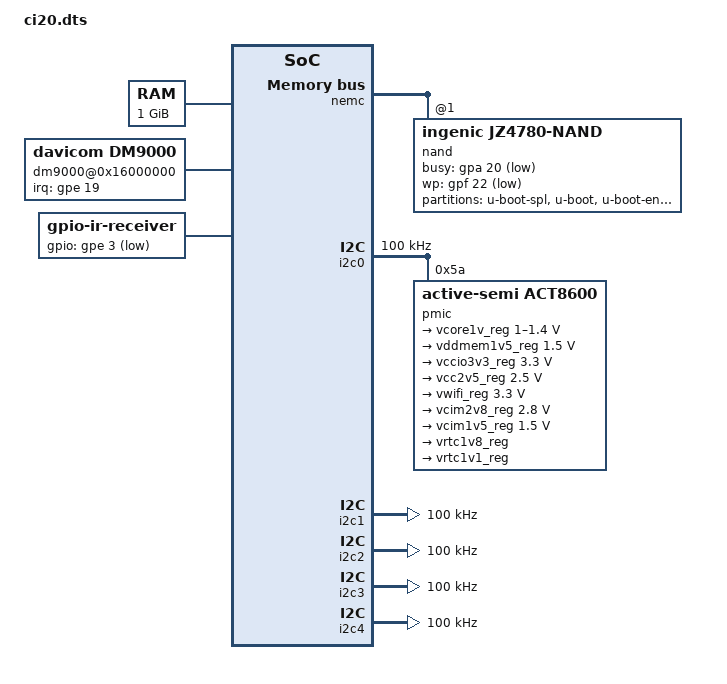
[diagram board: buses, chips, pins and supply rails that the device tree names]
/*
 * CI20 device tree
 *
 * Copyright (c) 2013 Imagination Technologies
 * Author: Paul Burton <paul.burton@imgtec.com>
 *
 * This program is free software; you can redistribute it and/or
 * modify it under the terms of the GNU General Public License as
 * published by the Free Software Foundation; either version 2 of
 * the License, or (at your option) any later version.
 *
 * This program is distributed in the hope that it will be useful,
 * but WITHOUT ANY WARRANTY; without even the implied warranty of
 * MERCHANTABILITY or FITNESS FOR A PARTICULAR PURPOSE.  See the
 * GNU General Public License for more details.
 *
 * You should have received a copy of the GNU General Public License
 * along with this program; if not, write to the Free Software
 * Foundation, Inc., 59 Temple Place, Suite 330, Boston,
 * MA 02111-1307 USA
 */

/dts-v1/;

#include <dt-bindings/gpio/gpio.h>

#include "jz4780.dtsi"

/ {
	compatible = "img,ci20";

	chosen {
		bootargs = "console=ttyS0,115200 clk_ignore_unused root=/dev/mmcblk0p1 rootwait";
	};

	memory {
		device_type = "memory";
		reg = <0x0 0x10000000
		       0x30000000 0x30000000>;
	};

	clocks {
		extal: extal {
			clock-frequency = <48000000>;
		};
	};

	board {
		#address-cells = <1>;
		#size-cells = <1>;
		compatible = "simple-bus";
		ranges = <>;

		dm9000@0x16000000 {
			compatible = "davicom,dm9000";
			davicom,no-eeprom;

			reg = <0x16000000 1   /* addr */
			       0x16000002 1>; /* data */

			interrupt-parent = <&gpe>;
			interrupts = <19 0x4>;
		};

		ir: ir-receiver {
			compatible = "gpio-ir-receiver";
			gpios = <&gpe 3 GPIO_ACTIVE_LOW>;
		};
	};
};

&msc0 {
	bus-width = <4>;
	max-frequency = <48000000>;
	cd-gpios = <&gpf 20 GPIO_ACTIVE_LOW>;

	pinctrl-names = "default";
	pinctrl-0 = <&pins_msc0_pe>;
};

&ehci {
	ingenic,vbus-gpio = <&gpf 15 0>;
};

&ohci {
	ingenic,vbus-gpio = <&gpf 15 0>;
};

&nemc {
	/*
	 * Only CLE/ALE are needed for the devices that are connected, rather
	 * than the full address line set.
	 */
	pinctrl-names = "default";
	pinctrl-0 = <&pins_nemc_data &pins_nemc_cle_ale &pins_nemc_frd_fwe>;

	nand: nand@1 {
		compatible = "ingenic,jz4780-nand";
		reg = <1 0 0x1000000>;

		ingenic,nemc-tAS = <10>;
		ingenic,nemc-tAH = <5>;
		ingenic,nemc-tBP = <10>;
		ingenic,nemc-tAW = <15>;
		ingenic,nemc-tSTRV = <100>;

		ingenic,bch-device = <&bch>;
		ingenic,ecc-size = <1024>;
		ingenic,ecc-strength = <24>;

		ingenic,busy-gpio = <&gpa 20 GPIO_ACTIVE_LOW>;
		ingenic,wp-gpio = <&gpf 22 GPIO_ACTIVE_LOW>;

		pinctrl-names = "default";
		pinctrl-0 = <&pins_nemc_cs1>;

		#address-cells = <2>;
		#size-cells = <2>;

		partition@0 {
			label = "u-boot-spl";
			reg = <0x0 0x0 0x0 0x800000>;
		};

		partition@0x800000 {
			label = "u-boot";
			reg = <0x0 0x800000 0x0 0x200000>;
		};

		partition@0xa00000 {
			label = "u-boot-env";
			reg = <0x0 0xa00000 0x0 0x200000>;
		};

		partition@0xc00000 {
			label = "system";
			reg = <0x0 0xc00000 0x1 0xff400000>;
		};
	};
};

&i2c0 {
	clock-frequency = <100000>;
	pinctrl-names = "default";
	pinctrl-0 = <&pins_i2c0_data>;

	pmic: act8600@5a {
		compatible = "active-semi,act8600";
		reg = <0x5a>;

		regulators {
			vcore1v_reg: DCDC_REG1 {
				regulator-name = "vcore1v2";
				regulator-min-microvolt = <1000000>;
				regulator-max-microvolt = <1400000>;
				regulator-always-on;
			};

			vddmem1v5_reg: DCDC_REG2 {
				regulator-name = "vddmem1v5";
				regulator-min-microvolt = <1500000>;
				regulator-max-microvolt = <1500000>;
				regulator-always-on;
			};

			vccio3v3_reg: DCDC_REG3 {
				regulator-name = "vccio3v3";
				regulator-min-microvolt = <3300000>;
				regulator-max-microvolt = <3300000>;
				regulator-always-on;
			};

			vcc2v5_reg: LDO_REG5 {
				regulator-name = "vcc2.5";
				regulator-min-microvolt = <2500000>;
				regulator-max-microvolt = <2500000>;
				regulator-always-on;
			};

			vwifi_reg: LDO_REG6 {
				regulator-name = "vwifi3v3";
				regulator-min-microvolt = <3300000>;
				regulator-max-microvolt = <3300000>;
			};

			vcim2v8_reg: LDO_REG7 {
				regulator-name = "vcim2v8";
				regulator-min-microvolt = <2800000>;
				regulator-max-microvolt = <2800000>;
			};

			vcim1v5_reg: LDO_REG8 {
				regulator-name = "vcim1v5";
				regulator-min-microvolt = <1500000>;
				regulator-max-microvolt = <1500000>;
			};

			/* Do not disable RTC as they connect to reset line */
			vrtc1v8_reg: LDO_REG9 {
				regulator-name = "vrtc1v8";
				regulator-always-on;
			};

			vrtc1v1_reg: LDO_REG10 {
				regulator-name = "vrtc1v2";
				regulator-always-on;
			};
		};
	};
};

&i2c1 {
	clock-frequency = <100000>;
	pinctrl-names = "default";
	pinctrl-0 = <&pins_i2c1_data>;
};

&i2c2 {
	clock-frequency = <100000>;
	pinctrl-names = "default";
	pinctrl-0 = <&pins_i2c2_data>;
};

&i2c3 {
	clock-frequency = <100000>;
	pinctrl-names = "default";
	pinctrl-0 = <&pins_i2c3_data>;
};

&i2c4 {
	clock-frequency = <100000>;
	pinctrl-names = "default";
	pinctrl-0 = <&pins_i2c4_data>;
};
